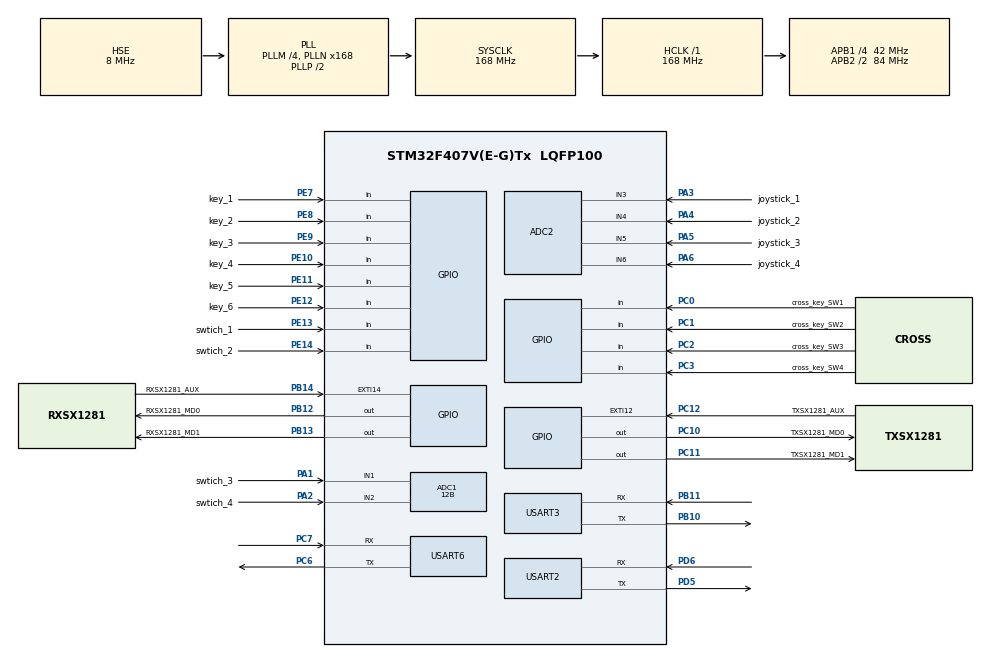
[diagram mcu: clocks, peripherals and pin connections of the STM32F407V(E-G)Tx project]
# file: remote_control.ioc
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ADC1.Channel-3\#ChannelRegularConversion=ADC_CHANNEL_1
ADC1.Channel-4\#ChannelRegularConversion=ADC_CHANNEL_2
ADC1.ClockPrescaler=ADC_CLOCK_SYNC_PCLK_DIV4
ADC1.DMAContinuousRequests=ENABLE
ADC1.ExternalTrigConv=ADC_EXTERNALTRIGCONV_T3_TRGO
ADC1.NbrOfConversion=2
ADC1.NbrOfConversionFlag=1
ADC1.Rank-3\#ChannelRegularConversion=1
ADC1.Rank-4\#ChannelRegularConversion=2
ADC1.Resolution=ADC_RESOLUTION_12B
ADC1.SamplingTime-3\#ChannelRegularConversion=ADC_SAMPLETIME_56CYCLES
ADC1.SamplingTime-4\#ChannelRegularConversion=ADC_SAMPLETIME_56CYCLES
ADC1.ScanConvMode=ENABLE
ADC1.master=1
ADC2.Channel-1\#ChannelRegularConversion=ADC_CHANNEL_3
ADC2.Channel-2\#ChannelRegularConversion=ADC_CHANNEL_4
ADC2.Channel-3\#ChannelRegularConversion=ADC_CHANNEL_5
ADC2.Channel-4\#ChannelRegularConversion=ADC_CHANNEL_6
ADC2.ClockPrescaler=ADC_CLOCK_SYNC_PCLK_DIV4
ADC2.DMAContinuousRequests=ENABLE
ADC2.ExternalTrigConv=ADC_EXTERNALTRIGCONV_T3_TRGO
ADC2.NbrOfConversion=4
ADC2.NbrOfConversionFlag=1
ADC2.Rank-1\#ChannelRegularConversion=1
ADC2.Rank-2\#ChannelRegularConversion=2
ADC2.Rank-3\#ChannelRegularConversion=3
ADC2.Rank-4\#ChannelRegularConversion=4
ADC2.SamplingTime-1\#ChannelRegularConversion=ADC_SAMPLETIME_56CYCLES
ADC2.SamplingTime-2\#ChannelRegularConversion=ADC_SAMPLETIME_56CYCLES
ADC2.SamplingTime-3\#ChannelRegularConversion=ADC_SAMPLETIME_56CYCLES
ADC2.SamplingTime-4\#ChannelRegularConversion=ADC_SAMPLETIME_56CYCLES
ADC2.ScanConvMode=ENABLE
Dma.ADC1.4.Direction=DMA_PERIPH_TO_MEMORY
Dma.ADC1.4.FIFOMode=DMA_FIFOMODE_DISABLE
Dma.ADC1.4.Instance=DMA2_Stream0
Dma.ADC1.4.MemDataAlignment=DMA_MDATAALIGN_HALFWORD
Dma.ADC1.4.MemInc=DMA_MINC_ENABLE
Dma.ADC1.4.Mode=DMA_CIRCULAR
Dma.ADC1.4.PeriphDataAlignment=DMA_PDATAALIGN_HALFWORD
Dma.ADC1.4.PeriphInc=DMA_PINC_DISABLE
Dma.ADC1.4.Priority=DMA_PRIORITY_LOW
Dma.ADC2.5.Direction=DMA_PERIPH_TO_MEMORY
Dma.ADC2.5.FIFOMode=DMA_FIFOMODE_DISABLE
Dma.ADC2.5.Instance=DMA2_Stream2
Dma.ADC2.5.MemDataAlignment=DMA_MDATAALIGN_HALFWORD
Dma.ADC2.5.MemInc=DMA_MINC_ENABLE
Dma.ADC2.5.Mode=DMA_CIRCULAR
Dma.ADC2.5.PeriphDataAlignment=DMA_PDATAALIGN_HALFWORD
Dma.ADC2.5.PeriphInc=DMA_PINC_DISABLE
Dma.ADC2.5.Priority=DMA_PRIORITY_LOW
Dma.Request0=USART2_RX
Dma.Request1=USART2_TX
Dma.Request2=USART3_RX
Dma.Request3=USART3_TX
Dma.Request4=ADC1
Dma.Request5=ADC2
Dma.Request6=USART6_RX
Dma.Request7=USART6_TX
Dma.USART2_RX.0.Direction=DMA_PERIPH_TO_MEMORY
Dma.USART2_RX.0.FIFOMode=DMA_FIFOMODE_DISABLE
Dma.USART2_RX.0.Instance=DMA1_Stream5
Dma.USART2_RX.0.MemDataAlignment=DMA_MDATAALIGN_BYTE
Dma.USART2_RX.0.MemInc=DMA_MINC_ENABLE
Dma.USART2_RX.0.Mode=DMA_NORMAL
Dma.USART2_RX.0.PeriphDataAlignment=DMA_PDATAALIGN_BYTE
Dma.USART2_RX.0.PeriphInc=DMA_PINC_DISABLE
Dma.USART2_RX.0.Priority=DMA_PRIORITY_LOW
Dma.USART2_TX.1.Direction=DMA_MEMORY_TO_PERIPH
Dma.USART2_TX.1.FIFOMode=DMA_FIFOMODE_DISABLE
Dma.USART2_TX.1.Instance=DMA1_Stream6
Dma.USART2_TX.1.MemDataAlignment=DMA_MDATAALIGN_BYTE
Dma.USART2_TX.1.MemInc=DMA_MINC_ENABLE
Dma.USART2_TX.1.Mode=DMA_NORMAL
Dma.USART2_TX.1.PeriphDataAlignment=DMA_PDATAALIGN_BYTE
Dma.USART2_TX.1.PeriphInc=DMA_PINC_DISABLE
Dma.USART2_TX.1.Priority=DMA_PRIORITY_LOW
Dma.USART3_RX.2.Direction=DMA_PERIPH_TO_MEMORY
Dma.USART3_RX.2.FIFOMode=DMA_FIFOMODE_DISABLE
Dma.USART3_RX.2.Instance=DMA1_Stream1
Dma.USART3_RX.2.MemDataAlignment=DMA_MDATAALIGN_BYTE
Dma.USART3_RX.2.MemInc=DMA_MINC_ENABLE
Dma.USART3_RX.2.Mode=DMA_NORMAL
Dma.USART3_RX.2.PeriphDataAlignment=DMA_PDATAALIGN_BYTE
Dma.USART3_RX.2.PeriphInc=DMA_PINC_DISABLE
Dma.USART3_RX.2.Priority=DMA_PRIORITY_LOW
Dma.USART3_TX.3.Direction=DMA_MEMORY_TO_PERIPH
Dma.USART3_TX.3.FIFOMode=DMA_FIFOMODE_DISABLE
Dma.USART3_TX.3.Instance=DMA1_Stream3
Dma.USART3_TX.3.MemDataAlignment=DMA_MDATAALIGN_BYTE
Dma.USART3_TX.3.MemInc=DMA_MINC_ENABLE
Dma.USART3_TX.3.Mode=DMA_NORMAL
Dma.USART3_TX.3.PeriphDataAlignment=DMA_PDATAALIGN_BYTE
Dma.USART3_TX.3.PeriphInc=DMA_PINC_DISABLE
Dma.USART3_TX.3.Priority=DMA_PRIORITY_LOW
Dma.USART6_RX.6.Direction=DMA_PERIPH_TO_MEMORY
Dma.USART6_RX.6.FIFOMode=DMA_FIFOMODE_DISABLE
Dma.USART6_RX.6.Instance=DMA2_Stream1
Dma.USART6_RX.6.MemDataAlignment=DMA_MDATAALIGN_BYTE
Dma.USART6_RX.6.MemInc=DMA_MINC_ENABLE
Dma.USART6_RX.6.Mode=DMA_NORMAL
Dma.USART6_RX.6.PeriphDataAlignment=DMA_PDATAALIGN_BYTE
Dma.USART6_RX.6.PeriphInc=DMA_PINC_DISABLE
Dma.USART6_RX.6.Priority=DMA_PRIORITY_LOW
Dma.USART6_TX.7.Direction=DMA_MEMORY_TO_PERIPH
Dma.USART6_TX.7.FIFOMode=DMA_FIFOMODE_DISABLE
Dma.USART6_TX.7.Instance=DMA2_Stream6
Dma.USART6_TX.7.MemDataAlignment=DMA_MDATAALIGN_BYTE
Dma.USART6_TX.7.MemInc=DMA_MINC_ENABLE
Dma.USART6_TX.7.Mode=DMA_NORMAL
Dma.USART6_TX.7.PeriphDataAlignment=DMA_PDATAALIGN_BYTE
Dma.USART6_TX.7.PeriphInc=DMA_PINC_DISABLE
Dma.USART6_TX.7.Priority=DMA_PRIORITY_LOW
FREERTOS.Tasks01=defaultTask,24,128,StartDefaultTask,Default,NULL,Dynamic,NULL,NULL;Display,8,128,Display_task,Default,NULL,Dynamic,NULL,NULL;Button,8,128,Button_task,Default,NULL,Dynamic,NULL,NULL;RXComunication,8,128,RXComunication_task,Default,NULL,Dynamic,NULL,NULL;TxBufferToDMA,8,128,TxBufferToDMA_task,Default,NULL,Dynamic,NULL,NULL
Mcu.Family=STM32F4
Mcu.Name=STM32F407V(E-G)Tx
Mcu.Package=LQFP100
NVIC.DMA1_Stream1_IRQn=true\:5\:0\:false\:false\:true\:true\:false\:true\:true
NVIC.DMA1_Stream3_IRQn=true\:5\:0\:false\:false\:true\:true\:false\:true\:true
NVIC.DMA1_Stream5_IRQn=true\:5\:0\:false\:false\:true\:true\:false\:true\:true
NVIC.DMA1_Stream6_IRQn=true\:5\:0\:false\:false\:true\:true\:false\:true\:true
NVIC.DMA2_Stream0_IRQn=true\:5\:0\:false\:false\:true\:true\:false\:true\:true
NVIC.DMA2_Stream1_IRQn=true\:5\:0\:false\:false\:true\:true\:false\:true\:true
NVIC.DMA2_Stream2_IRQn=true\:5\:0\:false\:false\:true\:true\:false\:true\:true
NVIC.DMA2_Stream6_IRQn=true\:5\:0\:false\:false\:true\:true\:false\:true\:true
NVIC.EXTI15_10_IRQn=true\:5\:0\:false\:false\:true\:true\:true\:true\:true
NVIC.PriorityGroup=NVIC_PRIORITYGROUP_4
NVIC.TIM1_UP_TIM10_IRQn=true\:5\:0\:false\:false\:true\:true\:true\:true\:true
NVIC.TIM2_IRQn=true\:15\:0\:false\:false\:true\:false\:false\:true\:true
NVIC.TimeBase=TIM2_IRQn
NVIC.TimeBaseIP=TIM2
NVIC.USART2_IRQn=true\:5\:0\:false\:false\:true\:true\:false\:true\:true
NVIC.USART3_IRQn=true\:5\:0\:false\:false\:true\:true\:false\:true\:true
NVIC.USART6_IRQn=true\:5\:0\:false\:false\:true\:true\:true\:true\:true
PA1.GPIO_Label=swtich_3
PA1.Signal=ADCx_IN1
PA13.Mode=Serial_Wire
PA13.Signal=SYS_JTMS-SWDIO
PA14.Mode=Serial_Wire
PA14.Signal=SYS_JTCK-SWCLK
PA2.GPIO_Label=swtich_4
PA2.Signal=ADCx_IN2
PA3.GPIO_Label=joystick_1
PA3.Signal=ADCx_IN3
PA4.GPIO_Label=joystick_2
PA4.Signal=ADCx_IN4
PA5.GPIO_Label=joystick_3
PA5.Signal=ADCx_IN5
PA6.GPIO_Label=joystick_4
PA6.Signal=ADCx_IN6
PB10.Mode=Asynchronous
PB10.Signal=USART3_TX
PB11.Mode=Asynchronous
PB11.Signal=USART3_RX
PB12.GPIO_Label=RXSX1281_MD0
PB12.Signal=GPIO_Output
PB13.GPIO_Label=RXSX1281_MD1
PB13.Signal=GPIO_Output
PB14.GPIO_Label=RXSX1281_AUX
PB14.GPIO_PuPd=GPIO_PULLDOWN
PB14.Signal=GPXTI14
PC0.GPIO_Label=cross_key_SW1
PC0.GPIO_PuPd=GPIO_PULLUP
PC0.Signal=GPIO_Input
PC1.GPIO_Label=cross_key_SW2
PC1.GPIO_PuPd=GPIO_PULLUP
PC1.Signal=GPIO_Input
PC10.GPIO_Label=TXSX1281_MD0
PC10.Signal=GPIO_Output
PC11.GPIO_Label=TXSX1281_MD1
PC11.Signal=GPIO_Output
PC12.GPIO_Label=TXSX1281_AUX
PC12.GPIO_PuPd=GPIO_PULLDOWN
PC12.Signal=GPXTI12
PC2.GPIO_Label=cross_key_SW3
PC2.GPIO_PuPd=GPIO_PULLUP
PC2.Signal=GPIO_Input
PC3.GPIO_Label=cross_key_SW4
PC3.GPIO_PuPd=GPIO_PULLUP
PC3.Signal=GPIO_Input
PC6.Mode=Asynchronous
PC6.Signal=USART6_TX
PC7.Mode=Asynchronous
PC7.Signal=USART6_RX
PD5.Mode=Asynchronous
PD5.Signal=USART2_TX
PD6.Mode=Asynchronous
PD6.Signal=USART2_RX
PE10.GPIO_Label=key_4
PE10.GPIO_PuPd=GPIO_PULLDOWN
PE10.Signal=GPIO_Input
PE11.GPIO_Label=key_5
PE11.GPIO_PuPd=GPIO_PULLDOWN
PE11.Signal=GPIO_Input
PE12.GPIO_Label=key_6
PE12.GPIO_PuPd=GPIO_PULLDOWN
PE12.Signal=GPIO_Input
PE13.GPIO_Label=swtich_1
PE13.GPIO_PuPd=GPIO_PULLDOWN
PE13.Signal=GPIO_Input
PE14.GPIO_Label=swtich_2
PE14.GPIO_PuPd=GPIO_PULLDOWN
PE14.Signal=GPIO_Input
PE7.GPIO_Label=key_1
PE7.GPIO_PuPd=GPIO_PULLDOWN
PE7.Signal=GPIO_Input
PE8.GPIO_Label=key_2
PE8.GPIO_PuPd=GPIO_PULLDOWN
PE8.Signal=GPIO_Input
PE9.GPIO_Label=key_3
PE9.GPIO_PuPd=GPIO_PULLDOWN
PE9.Signal=GPIO_Input
PH0-OSC_IN.Mode=HSE-External-Oscillator
PH0-OSC_IN.Signal=RCC_OSC_IN
PH1-OSC_OUT.Mode=HSE-External-Oscillator
PH1-OSC_OUT.Signal=RCC_OSC_OUT
ProjectManager.HeapSize=0x200
ProjectManager.StackSize=0x400
ProjectManager.TargetToolchain=MDK-ARM V5.32
RCC.48MHZClocksFreq_Value=84000000
RCC.AHBFreq_Value=168000000
RCC.APB1CLKDivider=RCC_HCLK_DIV4
RCC.APB1Freq_Value=42000000
RCC.APB1TimFreq_Value=84000000
RCC.APB2CLKDivider=RCC_HCLK_DIV2
RCC.APB2Freq_Value=84000000
RCC.APB2TimFreq_Value=168000000
RCC.CortexFreq_Value=168000000
RCC.HCLKFreq_Value=168000000
RCC.HSE_VALUE=8000000
RCC.HSI_VALUE=16000000
RCC.LSE_VALUE=32768
RCC.PLLM=4
RCC.PLLN=168
RCC.PLLSourceVirtual=RCC_PLLSOURCE_HSE
RCC.SYSCLKFreq_VALUE=168000000
RCC.SYSCLKSource=RCC_SYSCLKSOURCE_PLLCLK
RCC.VCOOutputFreq_Value=336000000
SH.ADCx_IN1.0=ADC1_IN1,IN1
SH.ADCx_IN2.0=ADC1_IN2,IN2
SH.ADCx_IN3.0=ADC2_IN3,IN3
SH.ADCx_IN4.0=ADC2_IN4,IN4
SH.ADCx_IN5.0=ADC2_IN5,IN5
SH.ADCx_IN6.0=ADC2_IN6,IN6
TIM1.Period=10-1
TIM1.Prescaler=16800-1
TIM3.Channel-PWM\ Generation4\ No\ Output=TIM_CHANNEL_4
TIM3.TIM_MasterOutputTrigger=TIM_TRGO_UPDATE
USART2.VirtualMode=VM_ASYNC
USART3.VirtualMode=VM_ASYNC
USART6.VirtualMode=VM_ASYNC
VP_FREERTOS_VS_CMSIS_V2.Mode=CMSIS_V2
VP_SYS_VS_tim2.Mode=TIM2
VP_TIM1_VS_ClockSourceINT.Mode=Internal
VP_TIM3_VS_no_output4.Mode=PWM Generation4 No Output
board=custom

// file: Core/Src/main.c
/* USER CODE BEGIN Header */
/**
  ******************************************************************************
  * @file           : main.c
  * @brief          : Main program body
  ******************************************************************************
  * @attention
  *
  * Copyright (c) 2026 STMicroelectronics.
  * All rights reserved.
  *
  * This software is licensed under terms that can be found in the LICENSE file
  * in the root directory of this software component.
  * If no LICENSE file comes with this software, it is provided AS-IS.
  *
  ******************************************************************************
  */
/* USER CODE END Header */
#include "main.h"
#include "cmsis_os.h"
#include "adc.h"
#include "dma.h"
#include "tim.h"
#include "usart.h"
#include "gpio.h"

/* USER CODE BEGIN Includes */
#include "communication.h"
#include "joystick.h"
#include "adc_switch.h"
#include "tjc_huart_hmi.h"
/* USER CODE END Includes */

void SystemClock_Config(void);
void MX_FREERTOS_Init(void);

int main(void)
{

  /* MCU Configuration--------------------------------------------------------*/

  /* Reset of all peripherals, Initializes the Flash interface and the Systick. */
  HAL_Init();

  /* Configure the system clock */
  SystemClock_Config();

  /* Initialize all configured peripherals */
  MX_GPIO_Init();
  MX_DMA_Init();
  MX_TIM1_Init();
  MX_USART2_UART_Init();
  MX_USART3_UART_Init();
  MX_ADC1_Init();
  MX_ADC2_Init();
  MX_TIM3_Init();
  MX_USART6_UART_Init();
  /* USER CODE BEGIN 2 */
	HAL_TIM_Base_Start_IT(&htim1);
  /* USER CODE END 2 */

  /* Init scheduler */
  osKernelInitialize();  /* Call init function for freertos objects (in cmsis_os2.c) */
  MX_FREERTOS_Init();

  /* Start scheduler */
  osKernelStart();

  /* We should never get here as control is now taken by the scheduler */

  /* Infinite loop */
  while (1)
  {

  }
}

void SystemClock_Config(void)
{
  RCC_OscInitTypeDef RCC_OscInitStruct = {0};
  RCC_ClkInitTypeDef RCC_ClkInitStruct = {0};

  /** Configure the main internal regulator output voltage
  */
  __HAL_RCC_PWR_CLK_ENABLE();
  __HAL_PWR_VOLTAGESCALING_CONFIG(PWR_REGULATOR_VOLTAGE_SCALE1);

  /** Initializes the RCC Oscillators according to the specified parameters
  * in the RCC_OscInitTypeDef structure.
  */
  RCC_OscInitStruct.OscillatorType = RCC_OSCILLATORTYPE_HSE;
  RCC_OscInitStruct.HSEState = RCC_HSE_ON;
  RCC_OscInitStruct.PLL.PLLState = RCC_PLL_ON;
  RCC_OscInitStruct.PLL.PLLSource = RCC_PLLSOURCE_HSE;
  RCC_OscInitStruct.PLL.PLLM = 4;
  RCC_OscInitStruct.PLL.PLLN = 168;
  RCC_OscInitStruct.PLL.PLLP = RCC_PLLP_DIV2;
  RCC_OscInitStruct.PLL.PLLQ = 4;
  if (HAL_RCC_OscConfig(&RCC_OscInitStruct) != HAL_OK)
  {
    Error_Handler();
  }

  /** Initializes the CPU, AHB and APB buses clocks
  */
  RCC_ClkInitStruct.ClockType = RCC_CLOCKTYPE_HCLK|RCC_CLOCKTYPE_SYSCLK
                              |RCC_CLOCKTYPE_PCLK1|RCC_CLOCKTYPE_PCLK2;
  RCC_ClkInitStruct.SYSCLKSource = RCC_SYSCLKSOURCE_PLLCLK;
  RCC_ClkInitStruct.AHBCLKDivider = RCC_SYSCLK_DIV1;
  RCC_ClkInitStruct.APB1CLKDivider = RCC_HCLK_DIV4;
  RCC_ClkInitStruct.APB2CLKDivider = RCC_HCLK_DIV2;

  if (HAL_RCC_ClockConfig(&RCC_ClkInitStruct, FLASH_LATENCY_5) != HAL_OK)
  {
    Error_Handler();
  }
}

/* USER CODE BEGIN 4 */
void HAL_UARTEx_RxEventCallback(UART_HandleTypeDef *huart, uint16_t size)
{
    Comm_UartRx_Callback_Wrapper(huart, size);
    HMI_UartRx_Callback_Wrapper(huart, size);

}

void HAL_UART_ErrorCallback(UART_HandleTypeDef *huart)
{
    Comm_UartError_Callback_Wrapper(huart);
    HMI_UartError_Callback_Wrapper(huart);

}

void HAL_UART_TxCpltCallback(UART_HandleTypeDef *huart)
{
    HMI_UartTxCplt_Callback_Wrapper(huart);
}

void HAL_ADC_ConvCpltCallback(ADC_HandleTypeDef* hadc)
{
    JOY_AdcConvCplt_Callback_Wrapper(hadc);
    KEY_AdcConvCplt_Callback_Wrapper(hadc);
}

extern osThreadId_t TxBufferToDMAHandle;

// 在外部或者文件上方定义全局变量以便用调试器查看
volatile uint32_t rf_tx_cnt = 0;
volatile uint32_t rf_last_tx_cyccnt = 0;
volatile uint32_t rf_tx_interval_us = 0;

void HAL_GPIO_EXTI_Callback(uint16_t GPIO_Pin)
{
    if(GPIO_Pin == TXSX1281_AUX_Pin)
    {
        // if(HAL_GPIO_ReadPin(GPIOC, GPIO_PIN_12) == GPIO_PIN_SET)

        rf_tx_cnt++;
        //先拿当前拍数
        uint32_t current_cyccnt = DWT->CYCCNT;
        // 凭借无符号数减法的特性，即使 current 折返归零了，减去 last_tx 依然是准确的差值跑过的拍数！
        rf_tx_interval_us = (current_cyccnt - rf_last_tx_cyccnt) / 168;

        // 更新上一拍
        rf_last_tx_cyccnt = current_cyccnt;

        BaseType_t xHigherPriorityTaskWoken = pdFALSE;

        vTaskNotifyGiveFromISR( (TaskHandle_t)TxBufferToDMAHandle, &xHigherPriorityTaskWoken );

        portYIELD_FROM_ISR(xHigherPriorityTaskWoken);
    }
}
/* USER CODE END 4 */

void HAL_TIM_PeriodElapsedCallback(TIM_HandleTypeDef *htim)
{
  if (htim->Instance == TIM2)
  {
    HAL_IncTick();
  }
  /* USER CODE BEGIN Callback 1 */
  else if (htim->Instance == TIM1)
  {
		timer_tick_count++;
		if (timer_tick_count >= 1) { // 计数达到 2ms
        timer_tick_count = 0;
			  Comm_Timer_Callback_Wrapper();
    }
  }
  /* USER CODE END Callback 1 */
}

void Error_Handler(void)
{
  __disable_irq();
  while (1)
  {
  }
}

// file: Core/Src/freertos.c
/* USER CODE BEGIN Header */
/**
  ******************************************************************************
  * File Name          : freertos.c
  * Description        : Code for freertos applications
  ******************************************************************************
  * @attention
  *
  * Copyright (c) 2026 STMicroelectronics.
  * All rights reserved.
  *
  * This software is licensed under terms that can be found in the LICENSE file
  * in the root directory of this software component.
  * If no LICENSE file comes with this software, it is provided AS-IS.
  *
  ******************************************************************************
  */
/* USER CODE END Header */

#include "FreeRTOS.h"
#include "task.h"
#include "main.h"
#include "cmsis_os.h"

/* USER CODE BEGIN Includes */
#include "adc.h"
#include "communication.h"
#include "button.h"
#include "joystick.h"
#include "key.h"
#include "tjc_huart_hmi.h"
#include "stm32f4xx.h"
/* USER CODE END Includes */

/* Definitions for defaultTask */
osThreadId_t defaultTaskHandle;
const osThreadAttr_t defaultTask_attributes = {
  .name = "defaultTask",
  .stack_size = 128 * 4,
  .priority = (osPriority_t) osPriorityNormal,
};
/* Definitions for Display */
osThreadId_t DisplayHandle;
const osThreadAttr_t Display_attributes = {
  .name = "Display",
  .stack_size = 128 * 4,
  .priority = (osPriority_t) osPriorityLow,
};
/* Definitions for Button */
osThreadId_t ButtonHandle;
const osThreadAttr_t Button_attributes = {
  .name = "Button",
  .stack_size = 128 * 4,
  .priority = (osPriority_t) osPriorityLow,
};
/* Definitions for RXComunication */
osThreadId_t RXComunicationHandle;
const osThreadAttr_t RXComunication_attributes = {
  .name = "RXComunication",
  .stack_size = 128 * 4,
  .priority = (osPriority_t) osPriorityLow,
};
/* Definitions for TxBufferToDMA */
osThreadId_t TxBufferToDMAHandle;
const osThreadAttr_t TxBufferToDMA_attributes = {
  .name = "TxBufferToDMA",
  .stack_size = 128 * 4,
  .priority = (osPriority_t) osPriorityLow,
};
/* Definitions for TxCommunication */
osThreadId_t TxCommunicationHandle;
const osThreadAttr_t TxCommunication_attributes = {
  .name = "TxCommunication",
  .stack_size = 128 * 4,
  .priority = (osPriority_t) osPriorityLow,
};

void StartDefaultTask(void *argument);
void Display_task(void *argument);
void Button_task(void *argument);
void RXComunication_task(void *argument);
void TxBufferToDMA_task(void *argument);
void TxCommunication_task(void *argument);

void MX_FREERTOS_Init(void); /* (MISRA C 2004 rule 8.1) */

void MX_FREERTOS_Init(void) {

  /* Create the thread(s) */
  /* creation of defaultTask */
  defaultTaskHandle = osThreadNew(StartDefaultTask, NULL, &defaultTask_attributes);

  /* creation of Display */
  DisplayHandle = osThreadNew(Display_task, NULL, &Display_attributes);

  /* creation of Button */
  ButtonHandle = osThreadNew(Button_task, NULL, &Button_attributes);

  /* creation of RXComunication */
  RXComunicationHandle = osThreadNew(RXComunication_task, NULL, &RXComunication_attributes);

  /* creation of TxBufferToDMA */
  TxBufferToDMAHandle = osThreadNew(TxBufferToDMA_task, NULL, &TxBufferToDMA_attributes);

  /* creation of TxCommunication */
  TxCommunicationHandle = osThreadNew(TxCommunication_task, NULL, &TxCommunication_attributes);

}

void StartDefaultTask(void *argument)
{
  for(;;)
  {
    osDelay(1);
  }
}

void Display_task(void *argument)
{
  /* USER CODE BEGIN Display_task */
  HMI_Task_Init(&huart2);
  /* Infinite loop */
  for(;;)
  {
    HMI_Task_Loop();
    osDelay(1);
  }
  /* USER CODE END Display_task */
}

void Button_task(void *argument)
{
  /* USER CODE BEGIN Button_task */
  Joystick_Task_Init(&hadc2);
  Key_Task_Init(&hadc1);
  Button_Task_Init();
  /* Infinite loop */
  for(;;)
  {
    Joystick_Task_Loop();
    Key_Task_Loop();
    Button_Task_Loop();
    Communication_Task_Loop();
    osDelay(1);
  }
  /* USER CODE END Button_task */
}

void RXComunication_task(void *argument)
{
  /* USER CODE BEGIN RXComunication_task */
  /* Infinite loop */
  Communication_Task_Init(&huart6, &huart3);
  for(;;)
  {
    Communication_Task_Loop();
    osDelay(1);
  }
  /* USER CODE END RXComunication_task */
}

void TxBufferToDMA_task(void *argument)
{
  /* USER CODE BEGIN TxBufferToDMA_task */
  /* Infinite loop */
  CoreDebug->DEMCR |= CoreDebug_DEMCR_TRCENA_Msk;
  DWT->CYCCNT = 0;
  DWT->CTRL |= DWT_CTRL_CYCCNTENA_Msk;
  Comm_Timer_Callback_Wrapper();
	TxBufferToDMA(&huart6);
  for(;;)
  {
    ulTaskNotifyTake(pdTRUE, portMAX_DELAY);
    TxBufferToDMA(&huart6);
    tx_cnt++;

    // //先拿当前拍数
    // uint32_t current_cyccnt = DWT->CYCCNT;
    // // 凭借无符号数减法的特性，即使 current 折返归零了，减去 last_tx 依然是准确的差值跑过的拍数！
    // tx_stamp = (current_cyccnt - last_tx_stamp) / 168;

    // // 更新上一拍
    // last_tx_stamp = current_cyccnt;
  }
  /* USER CODE END TxBufferToDMA_task */
}

void TxCommunication_task(void *argument)
{
  for(;;)
  {
    osDelay(1);
  }
}
